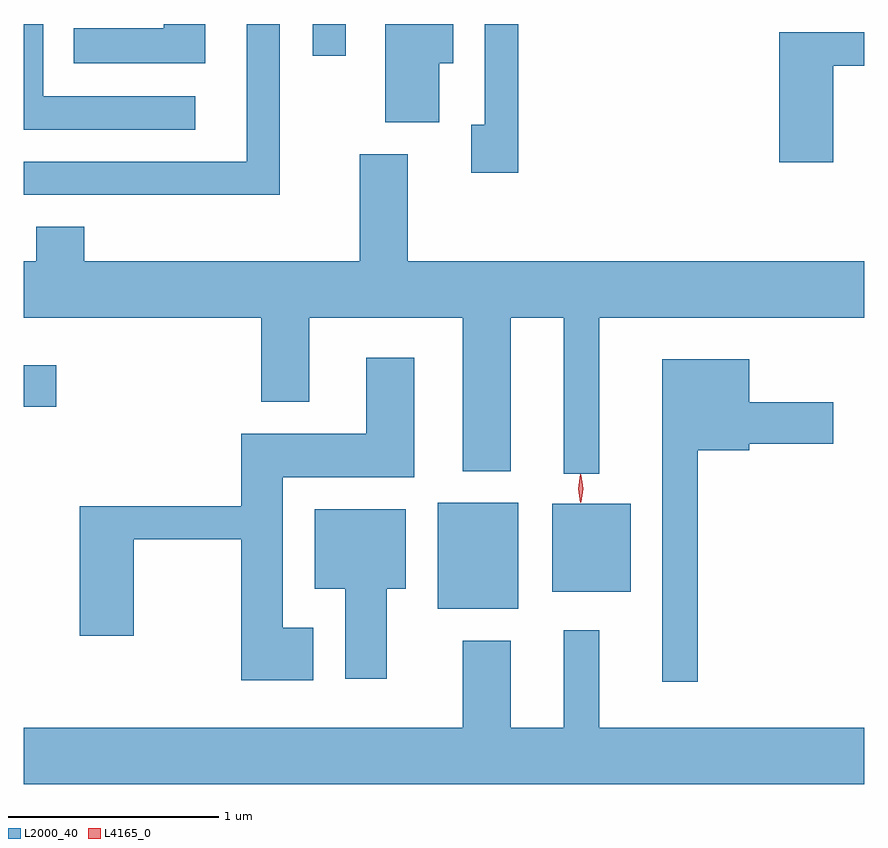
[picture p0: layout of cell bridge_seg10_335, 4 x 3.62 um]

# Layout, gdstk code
import gdstk
lib = gdstk.Library(unit=1e-6, precision=1e-09)
def R(c, l, rs):  # rectangles x0, y0, x1, y1
    for r in rs: c.add(gdstk.rectangle(r[:2], r[2:], *l))
def P(c, l, *ps):  # polygons
    for p in ps: c.add(gdstk.Polygon(p, *l))
L2000_40 = (2000, 40)
L4165_0 = (4165, 0)

bridge_seg10_335 = lib.new_cell('bridge_seg10_335')
R(bridge_seg10_335, L2000_40, [(1265.551,2156.931,1265.934,2157.434), (1266.096,2157.011,1266.469,2157.429), (1263.581,2157.891,1263.734,2158.089), (1264.956,2159.563,1265.114,2159.714)])
P(bridge_seg10_335, L2000_40, [(1265.559,2159.526),(1265.624,2159.526),(1265.624,2159.714),(1265.301,2159.714),(1265.301,2159.246),(1265.559,2159.246)],
  [(1265.934,2159.714),(1265.776,2159.714),(1265.776,2159.234),(1265.711,2159.234),(1265.711,2159.006),(1265.934,2159.006)],
  [(1264.398,2159.369),(1263.674,2159.369),(1263.674,2159.714),(1263.581,2159.714),(1263.581,2159.211),(1264.398,2159.211)],
  [(1264.444,2159.714),(1264.246,2159.714),(1264.246,2159.694),(1263.818,2159.694),(1263.818,2159.526),(1264.444,2159.526)],
  [(1264.799,2159.714),(1264.641,2159.714),(1264.641,2159.059),(1263.581,2159.059),(1263.581,2158.901),(1264.799,2158.901)],
  [(1267.434,2159.516),(1267.581,2159.516),(1267.581,2159.674),(1267.176,2159.674),(1267.176,2159.056),(1267.434,2159.056)],
  [(1266.319,2158.316),(1267.581,2158.316),(1267.581,2158.584),(1265.409,2158.584),(1265.409,2159.094),(1265.181,2159.094),(1265.181,2158.584),(1263.869,2158.584),(1263.869,2158.749),(1263.641,2158.749),(1263.641,2158.584),(1263.581,2158.584),(1263.581,2158.316),(1264.711,2158.316),(1264.711,2157.916),(1264.939,2157.916),(1264.939,2158.316),(1265.671,2158.316),(1265.671,2157.586),(1265.899,2157.586),(1265.899,2158.316),(1266.151,2158.316),(1266.151,2157.573),(1266.319,2157.573)],
  [(1264.959,2156.839),(1264.814,2156.839),(1264.814,2157.556),(1265.439,2157.556),(1265.439,2158.124),(1265.211,2158.124),(1265.211,2157.764),(1264.616,2157.764),(1264.616,2157.419),(1263.846,2157.419),(1263.846,2156.801),(1264.104,2156.801),(1264.104,2157.261),(1264.616,2157.261),(1264.616,2156.591),(1264.959,2156.591)],
  [(1266.789,2157.686),(1267.034,2157.686),(1267.034,2157.716),(1267.434,2157.716),(1267.434,2157.914),(1267.034,2157.914),(1267.034,2158.119),(1266.621,2158.119),(1266.621,2156.583),(1266.789,2156.583)],
  [(1265.309,2157.026),(1265.399,2157.026),(1265.399,2157.404),(1264.966,2157.404),(1264.966,2157.026),(1265.111,2157.026),(1265.111,2156.596),(1265.309,2156.596)],
  [(1267.581,2156.364),(1266.319,2156.364),(1266.319,2156.828),(1266.151,2156.828),(1266.151,2156.364),(1265.899,2156.364),(1265.899,2156.779),(1265.671,2156.779),(1265.671,2156.364),(1263.581,2156.364),(1263.581,2156.096),(1267.581,2156.096)])
P(bridge_seg10_335, L4165_0, [(1266.229,2157.434),(1266.22,2157.502),(1266.23,2157.57),(1266.231,2157.57),(1266.231,2157.57),(1266.24,2157.502),(1266.23,2157.434),(1266.23,2157.434)],
  [(1266.232,2157.438),(1266.223,2157.502),(1266.232,2157.567),(1266.233,2157.567),(1266.234,2157.567),(1266.243,2157.502),(1266.234,2157.438),(1266.233,2157.438)])

lib.write_gds('bridge_seg10_335.gds')
